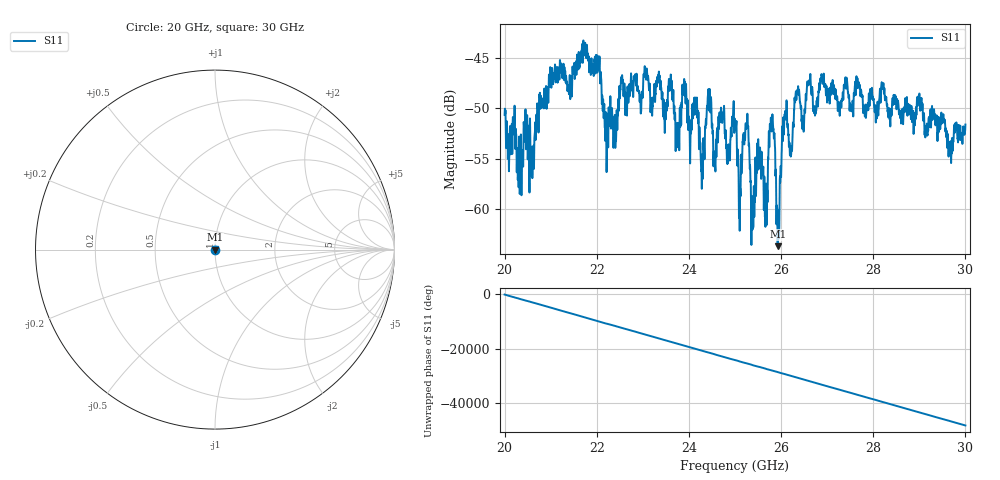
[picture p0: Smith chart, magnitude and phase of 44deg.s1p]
#  HZ  S  RI  R  50.00
! Rohde & Schwarz ZVA40 4Ports - Version 3.90 - 1145.1110k42 SN: 100403
! Date: 2023-10-03 12:54:39
! Measurement: S12
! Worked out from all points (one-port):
!   5001 points, 20 GHz to 30 GHz, reference 50 ohm
!   lowest |S11| = -63.6 dB at 25.93 GHz (marker M1), VSWR 1.00, Z = 50 - j0.0597 ohm
!   |S11| at or under -10 dB: start of sweep to end of sweep
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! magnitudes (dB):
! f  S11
! 20 GHz  -50.6
! 20.59 GHz  -54.5
! 20.75 GHz  -48.7
! 21.25 GHz  -47.0
! 22.01 GHz  -46.1
! 22.22 GHz  -54.3
! 22.5 GHz  -49.0
! 23.59 GHz  -47.8
! 23.75 GHz  -53.9
! 23.9 GHz  -47.5
! 24.16 GHz  -49.8
! 24.29 GHz  -54.8
! 24.44 GHz  -50.0
! 24.56 GHz  -54.6
! 25 GHz  -51.9
! 25.11 GHz  -58.9
! 25.26 GHz  -51.2
! 25.39 GHz  -60.0
! 25.53 GHz  -55.2
! 25.67 GHz  -59.7
! 25.81 GHz  -51.0
! 25.93 GHz  -63.6
! 26.07 GHz  -50.8
! 26.25 GHz  -52.6
! 26.6 GHz  -47.6
! 27.5 GHz  -49.6
! 28.75 GHz  -49.6
! 30 GHz  -51.6
